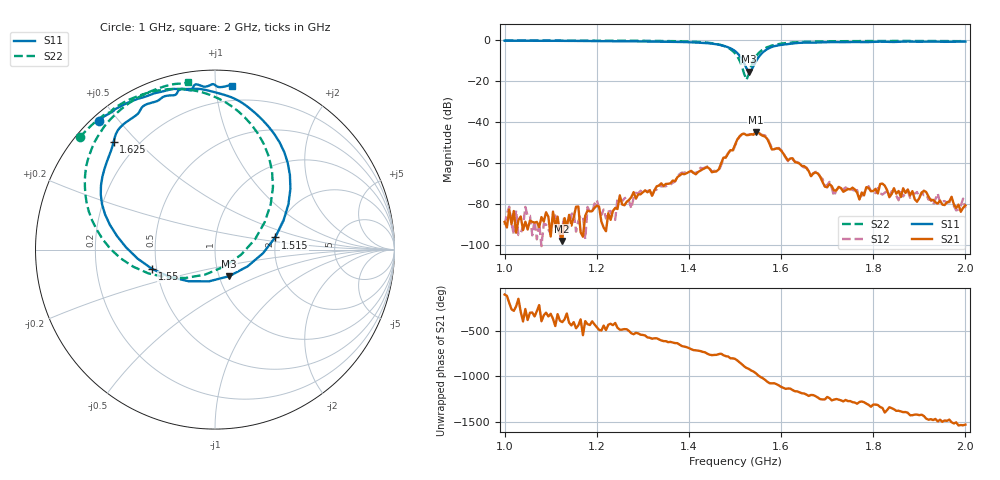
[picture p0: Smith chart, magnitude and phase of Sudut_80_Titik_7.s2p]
# Hz S RI R 50
! CMT, C1220, 16058040, 17.2.0/1
! Date: 14/08/2018 12:12:54
! Data: Format (Calibration Info)
! Freq  S11: Re/Im (F2)  S21: Re/Im (F2)  S12: Re/Im (F2)  S22: Re/Im (F2)
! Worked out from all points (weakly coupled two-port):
!   201 points, 1 GHz to 2 GHz, reference 50 ohm
!   highest |S21| = -44.88 dB at 1.545 GHz (marker M1); lowest = -98.1 dB at 1.125 GHz (marker M2)
!   lowest |S11| = -15.5 dB at 1.53 GHz (marker M3), VSWR 1.40, Z = 55.9 - j17 ohm
!   |S11| at or under -10 dB: 1.517 GHz to 1.547 GHz (30.01 MHz wide, 1.96 % of centre)
!   |S22| runs from -19.4 to -0.2 dB; largest |S21 - S12| = 0.00032
!   S11 on the Smith chart (normalised r, x): 1 GHz: 0.02, +0.44; 1.515 GHz: 1.98, +0.30; 1.55 GHz: 0.47, -0.12; 1.625 GHz: 0.11, +0.43; 2 GHz: 0.10, +1.11
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1e9  -0.6464 0.7146  -4.17e-06 -3.61e-05  3.06e-05 1.23e-06  -0.7535 0.6251
1.125e9  -0.5213 0.8003  9.46e-06 -8.13e-06  2.69e-05 3.15e-06  -0.6595 0.7179
1.17e9  -0.4767 0.8224  -1.57e-05 1.38e-06  3.21e-05 -3.88e-05  -0.6166 0.7507
1.275e9  -0.3276 0.8733  -0.00014 -4.13e-05  -6.03e-05 -4.77e-05  -0.5017 0.8237
1.335e9  -0.2177 0.8948  -0.000174 0.000219  -0.000114 0.000259  -0.4003 0.8655
1.465e9  0.2644 0.7227  0.000588 -0.000382  0.000481 -0.000431  0.1288 0.771
1.5e9  0.4202 0.339  0.000174 -0.00274  0.000172 -0.0026  0.3231 0.3489
1.515e9  0.335 0.0676  -0.00413 -0.00286  -0.00401 -0.00302  0.2225 0.0567
1.53e9  0.0794 -0.148  -0.00461 0.00142  -0.00466 0.00144  -0.0546 -0.1392
1.545e9  -0.2529 -0.152  -0.00256 0.00509  -0.00264 0.005  -0.3697 -0.133
1.55e9  -0.3497 -0.108  -0.000285 0.00558  -0.000525 0.00558  -0.4548 -0.0957
1.625e9  -0.5641 0.6021  0.000434 -0.00122  0.000432 -0.00114  -0.7023 0.52
1.67e9  -0.4433 0.7454  -0.000328 -0.000446  -0.000332 -0.000451  -0.6258 0.6726
1.715e9  -0.3613 0.8162  -0.000211 -1.55e-05  -0.000154 1.85e-06  -0.551 0.758
1.73e9  -0.3233 0.8271  -0.000242 1.44e-05  -0.000266 -1.26e-05  -0.5268 0.7785
1.77e9  -0.2447 0.8592  -0.000118 4.78e-05  -0.000121 7.54e-05  -0.4679 0.8232
1.79e9  -0.2131 0.8692  -0.000147 0.000197  -0.000145 0.000228  -0.4376 0.8413
1.82e9  -0.1745 0.8951  -1.08e-05 0.000312  -4.58e-05 0.000162  -0.3961 0.8641
1.835e9  -0.142 0.8874  -2.51e-05 0.000143  2.8e-05 0.000155  -0.3762 0.8738
1.865e9  -0.1154 0.916  0.000167 0.000174  0.000102 0.000112  -0.3347 0.891
1.895e9  -0.0645 0.9084  0.000107 3.69e-05  0.000164 0.000105  -0.2914 0.9062
2e9  0.0969 0.9119  -1.99e-06 -9.15e-05  -9.74e-06 -7.79e-05  -0.1524 0.9332
